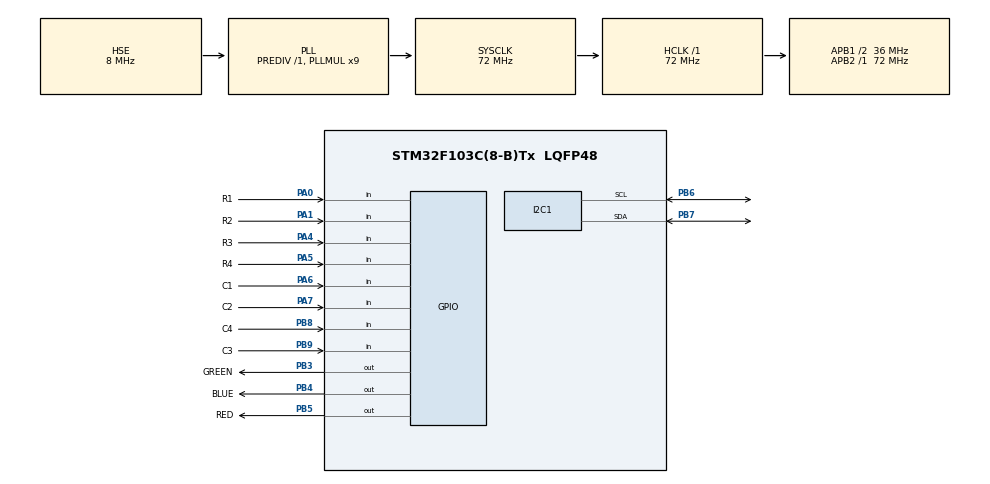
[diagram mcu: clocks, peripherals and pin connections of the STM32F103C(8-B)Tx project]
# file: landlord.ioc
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Mcu.Family=STM32F1
Mcu.Name=STM32F103C(8-B)Tx
Mcu.Package=LQFP48
NVIC.PriorityGroup=NVIC_PRIORITYGROUP_4
PA0-WKUP.GPIO_Label=R1
PA0-WKUP.Signal=GPIO_Input
PA1.GPIO_Label=R2
PA1.Signal=GPIO_Input
PA13.Mode=Serial_Wire
PA13.Signal=SYS_JTMS-SWDIO
PA14.Mode=Serial_Wire
PA14.Signal=SYS_JTCK-SWCLK
PA4.GPIO_Label=R3
PA4.Signal=GPIO_Input
PA5.GPIO_Label=R4
PA5.Signal=GPIO_Input
PA6.GPIO_Label=C1
PA6.Signal=GPIO_Input
PA7.GPIO_Label=C2
PA7.Signal=GPIO_Input
PB3.GPIO_Label=GREEN
PB3.Signal=GPIO_Output
PB4.GPIO_Label=BLUE
PB4.Signal=GPIO_Output
PB5.GPIO_Label=RED
PB5.Signal=GPIO_Output
PB6.Mode=I2C
PB6.Signal=I2C1_SCL
PB7.Mode=I2C
PB7.Signal=I2C1_SDA
PB8.GPIO_Label=C4
PB8.Signal=GPIO_Input
PB9.GPIO_Label=C3
PB9.Signal=GPIO_Input
PC14-OSC32_IN.Mode=LSE-External-Oscillator
PC14-OSC32_IN.Signal=RCC_OSC32_IN
PC15-OSC32_OUT.Mode=LSE-External-Oscillator
PC15-OSC32_OUT.Signal=RCC_OSC32_OUT
PD0-OSC_IN.Mode=HSE-External-Oscillator
PD0-OSC_IN.Signal=RCC_OSC_IN
PD1-OSC_OUT.Mode=HSE-External-Oscillator
PD1-OSC_OUT.Signal=RCC_OSC_OUT
ProjectManager.HeapSize=0x200
ProjectManager.StackSize=0x400
ProjectManager.TargetToolchain=STM32CubeIDE
RCC.AHBFreq_Value=72000000
RCC.APB1CLKDivider=RCC_HCLK_DIV2
RCC.APB1Freq_Value=36000000
RCC.APB1TimFreq_Value=72000000
RCC.APB2Freq_Value=72000000
RCC.APB2TimFreq_Value=72000000
RCC.HCLKFreq_Value=72000000
RCC.PLLMUL=RCC_PLL_MUL9
RCC.PLLSourceVirtual=RCC_PLLSOURCE_HSE
RCC.SYSCLKFreq_VALUE=72000000
RCC.SYSCLKSource=RCC_SYSCLKSOURCE_PLLCLK
RCC.USBFreq_Value=72000000
VP_RTC_VS_RTC_Activate.Mode=RTC_Enabled
board=custom

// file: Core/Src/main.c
/* USER CODE BEGIN Header */
/**
  ******************************************************************************
  * @file           : main.c
  * @brief          : Main program body
  ******************************************************************************
  * @attention
  *
  * Copyright (c) 2023 STMicroelectronics.
  * All rights reserved.
  *
  * This software is licensed under terms that can be found in the LICENSE file
  * in the root directory of this software component.
  * If no LICENSE file comes with this software, it is provided AS-IS.
  *
  ******************************************************************************
  */
/* USER CODE END Header */
#include "main.h"
#include "i2c.h"
#include "rtc.h"
#include "gpio.h"

/* USER CODE BEGIN Includes */
#include "i2c_lcd.h"
#include "user_systick.h"

/* USER CODE END Includes */

/* USER CODE BEGIN PTD */
uint8_t backlight = 1;

//button operation variables
uint8_t button_press_flag;
uint8_t button_handler_flag;
uint8_t up_flag = 0;
uint8_t down_flag = 0;
uint8_t ok_flag = 0;
uint8_t back_flag = 0;

uint8_t admin_screen = 0;
uint8_t menu_screen = 1;
uint8_t mpesa_mode = 0;
uint8_t mpesa_case = 0;
uint8_t payment_flag = 0;
uint8_t menu = 0;
uint8_t admin = 0;
uint8_t a = 0;
uint8_t sub_mode_flag = 0;
uint8_t check_balance_flag = 0;
uint8_t sub = 0;
uint8_t adm = 0;
uint8_t mpesa_flag = 0;
uint8_t mpesa_menu_flag = 0;
uint8_t till_flag = 0;
uint8_t till_menu = 0;
uint8_t paybill = 0;
uint8_t pin = 0;
uint8_t amount = 0;
uint8_t adm_menu = 0;

/* USER CODE END PTD */

void SystemClock_Config(void);

int main(void)
{

  /* MCU Configuration--------------------------------------------------------*/

  /* Reset of all peripherals, Initializes the Flash interface and the Systick. */
  HAL_Init();

  /* Configure the system clock */
  SystemClock_Config();

  /* Initialize all configured peripherals */
  MX_GPIO_Init();
  MX_I2C1_Init();
  MX_RTC_Init();
  /* USER CODE BEGIN 2 */
  //lcd init
  lcd16x2_i2c_init(&hi2c1); //Initialize LCD
  lcd16x2_i2c_1stLine();
  lcd16x2_i2c_printf("WELCOME");
  lcd16x2_i2c_2ndLine();
  lcd16x2_i2c_printf("VIEW MENU");
  delay(2000);

  /* USER CODE END 2 */

  /* Infinite loop */
  while (1)
  {

    /* USER CODE BEGIN 3 */
	  button_hundler();
	  homeScreen();
	  sleep_mode() ;
	  resetButtons();
  }
  /* USER CODE END 3 */
}

void SystemClock_Config(void)
{
  RCC_OscInitTypeDef RCC_OscInitStruct = {0};
  RCC_ClkInitTypeDef RCC_ClkInitStruct = {0};
  RCC_PeriphCLKInitTypeDef PeriphClkInit = {0};

  /** Initializes the RCC Oscillators according to the specified parameters
  * in the RCC_OscInitTypeDef structure.
  */
  RCC_OscInitStruct.OscillatorType = RCC_OSCILLATORTYPE_LSI|RCC_OSCILLATORTYPE_HSE;
  RCC_OscInitStruct.HSEState = RCC_HSE_ON;
  RCC_OscInitStruct.HSEPredivValue = RCC_HSE_PREDIV_DIV1;
  RCC_OscInitStruct.HSIState = RCC_HSI_ON;
  RCC_OscInitStruct.LSIState = RCC_LSI_ON;
  RCC_OscInitStruct.PLL.PLLState = RCC_PLL_ON;
  RCC_OscInitStruct.PLL.PLLSource = RCC_PLLSOURCE_HSE;
  RCC_OscInitStruct.PLL.PLLMUL = RCC_PLL_MUL9;
  if (HAL_RCC_OscConfig(&RCC_OscInitStruct) != HAL_OK)
  {
    Error_Handler();
  }

  /** Initializes the CPU, AHB and APB buses clocks
  */
  RCC_ClkInitStruct.ClockType = RCC_CLOCKTYPE_HCLK|RCC_CLOCKTYPE_SYSCLK
                              |RCC_CLOCKTYPE_PCLK1|RCC_CLOCKTYPE_PCLK2;
  RCC_ClkInitStruct.SYSCLKSource = RCC_SYSCLKSOURCE_PLLCLK;
  RCC_ClkInitStruct.AHBCLKDivider = RCC_SYSCLK_DIV1;
  RCC_ClkInitStruct.APB1CLKDivider = RCC_HCLK_DIV2;
  RCC_ClkInitStruct.APB2CLKDivider = RCC_HCLK_DIV1;

  if (HAL_RCC_ClockConfig(&RCC_ClkInitStruct, FLASH_LATENCY_2) != HAL_OK)
  {
    Error_Handler();
  }
  PeriphClkInit.PeriphClockSelection = RCC_PERIPHCLK_RTC;
  PeriphClkInit.RTCClockSelection = RCC_RTCCLKSOURCE_LSI;
  if (HAL_RCCEx_PeriphCLKConfig(&PeriphClkInit) != HAL_OK)
  {
    Error_Handler();
  }
}

/* USER CODE BEGIN 4 */
unsigned char key_press(void){
	unsigned char clm_var;
	unsigned char key_arr[] = {7, 8, 9, 15, 4, 5, 6, 14, 1, 2, 3, 13, 10, 0, 11, 12};
	HAL_GPIO_WritePin(C1_GPIO_PORT, C1_Pin | C2_GPIO_PORT, C2_Pin | C3_GPIO_PORT, C3_Pin | C4_GPIO_PORT, C4_Pin, GPIO_PIN_RESET);

	if (HAL_GPIO_ReadPin(R1_GPIO_Port, R1_Pin)==0){
		clm_var = check_clm(R1_Pin);
		return key_arr[clm_var-1];
	}
	else if (HAL_GPIO_ReadPin(R2_GPIO_Port, R2_Pin)==0){
		clm_var = check_clm(R2_Pin);
		return key_arr[clm_var+3];
	}
	else if (HAL_GPIO_ReadPin(R3_GPIO_Port, R3_Pin)==0){
		clm_var = check_clm(R3_Pin);
		return key_arr[clm_var+7];
	}
	else if (HAL_GPIO_ReadPin(R4_GPIO_Port, R4_Pin)==0){
		clm_var = check_clm(R4_Pin);
		return key_arr[clm_var+11];
	}
	else
		return 16;
}

unsigned char check_clm(unsigned char pin_var){
	unsigned char clm;
	HAL_GPIO_WritePin(C1_GPIO_Port, C1_Pin | C2_GPIO_Port, C2_Pin | C3_GPIO_Port, C3_Pin | C4_GPIO_Port, C4_Pin, GPIO_PIN_SET); //Set all colunms to logic 1

	HAL_GPIO_WritePin(C1_GPIO_Port, C1_Pin, GPIO_PIN_RESET);  //Set first column to GND
	if(HAL_GPIO_ReadPin(R1_GPIO_Port, R1_Pin | R2_GPIO_Port, R2_Pin | R3_GPIO_Port, R3_Pin | R4_GPIO_Port, R4_Pin) == 0){
		clm = 1;
	}

	HAL_GPIO_WritePin(C1_GPIO_Port, C1_Pin, GPIO_PIN_SET);
	HAL_GPIO_WritePin(C2_GPIO_Port, C2_Pin, GPIO_PIN_RESET);  //Set second column to GND
	if(HAL_GPIO_ReadPin(R1_GPIO_Port, R1_Pin | R2_GPIO_Port, R2_Pin | R3_GPIO_Port, R3_Pin | R4_GPIO_Port, R4_Pin) == 0){
		clm = 2;
	}

	HAL_GPIO_WritePin(C2_GPIO_Port, C2_Pin, GPIO_PIN_SET);
	HAL_GPIO_WritePin(C3_GPIO_Port, C3_Pin, GPIO_PIN_RESET);  //Set third column to GND
	if(HAL_GPIO_ReadPin(R1_GPIO_Port, R1_Pin | R2_GPIO_Port, R2_Pin | R3_GPIO_Port, R3_Pin | R4_GPIO_Port, R4_Pin) == 0){
		clm = 3;
	}
	HAL_GPIO_WritePin(C3_GPIO_Port, C3_Pin, GPIO_PIN_SET);
	HAL_GPIO_WritePin(C4_GPIO_Port, C4_Pin, GPIO_PIN_RESET);  //Set second column to GND
	if(HAL_GPIO_ReadPin(R1_GPIO_Port, R1_Pin | R2_GPIO_Port, R2_Pin | R3_GPIO_Port, R3_Pin | R4_GPIO_Port, R4_Pin) == 0){
		clm = 4;
	}

	HAL_GPIO_WritePin(C1_GPIO_Port, C1_Pin | C2_GPIO_Port, C2_Pin | C3_GPIO_Port, C3_Pin | C4_GPIO_Port, C4_Pin, GPIO_PIN_RESET);  // Set all columns to logic0 ie connected
	return clm;
}

void button_hundler(){

	  if (HAL_GPIO_ReadPin(UP_GPIO_Port, UP_Pin)==0){
		  //raise up menu movement flag
		  up_flag = 1;
		  backlight = 1;
		  button_handler_flag = 1;
		  button_handler_ticks=0;

	  }

	  if (HAL_GPIO_ReadPin(DOWN_GPIO_Port, DOWN_Pin)==0){
		  //raise down menu movement flag
		  down_flag = 1;
		  backlight = 1;
		  button_handler_flag = 1;
		  button_handler_ticks=0;
	  }

	  if (HAL_GPIO_ReadPin(ENTER_GPIO_Port, ENTER_Pin)==0){
		  //raise okey flag
		  ok_flag = 1;
		  backlight = 1;
		  button_handler_flag = 1;
		  button_handler_ticks=0;
	  }

	  if (HAL_GPIO_ReadPin(BACK_GPIO_Port, BACK_Pin)==0){
		  //raise back menu movement flag
		  back_flag = 1;
		  backlight = 1;
		  button_handler_flag = 1;
		  button_handler_ticks=0;
	  }
	  delay(50);
}

void homeScreen() {
	//	main menu screen select
	while (menu_screen) {
		button_hundler();

		lcd16x2_i2c_clear();
		lcd16x2_i2c_1stLine();
		lcd16x2_i2c_printf("MENU");
		lcd16x2_i2c_2ndLine();
		lcd16x2_i2c_printf("ADMIN");
		lcd16x2_i2c_setCursor(0, 6);
		lcd16x2_i2c_printf(">");
		delay(100);

		if (ok_flag) {
			resetButtons();
			menu = 1;
		}

		while (menu) {
			button_hundler();
			if (up_flag || down_flag){
				resetButtons();
				a++;
			 }
			if(a>1){
				a=0;
			}
			if (!a){
//				PROMPTING FOR PAYMENT SUBSCRIPTION MODE SELECTING
				lcd16x2_i2c_clear();
				lcd16x2_i2c_1stLine();
				lcd16x2_i2c_printf("SUBSCRIPTION");
				lcd16x2_i2c_2ndLine();
				lcd16x2_i2c_printf("MODE");
				delay(100);

				if (ok_flag){
					resetButtons();
					sub_mode_flag =1;
				}
			}

			while (sub_mode_flag) {
				button_hundler();
				sub_mode();

				if (back_flag){
					resetButtons();
					sub_mode_flag =0;
				}
			}

			if (a) {
//				prompt for your tocken balance but ideally it should be desplayed at the home screen
				lcd16x2_i2c_clear();
				lcd16x2_i2c_1stLine();
				lcd16x2_i2c_printf("CHECK TOCKEN");
				lcd16x2_i2c_2ndLine();
				lcd16x2_i2c_printf("BALANCE");
				lcd16x2_i2c_setCursor(1, 7);
				delay(100);

				if (ok_flag){
					resetButtons();
					check_balance_flag =1;
				}
			}

			while (check_balance_flag){
//				the display for tocken balance after prompting
				button_hundler();
				if (backlight){
					lcd16x2_i2c_clear();
					lcd16x2_i2c_1stLine();
					lcd16x2_i2c_printf("TOCKEN");
					lcd16x2_i2c_2ndLine();
					lcd16x2_i2c_printf("BALANCE");
					lcd16x2_i2c_setCursor(1, 7);
					delay(100);
				}

				if (back_flag) {
					resetButtons();
					check_balance_flag =0;
				}
			}

			if (back_flag){
				resetButtons();
				menu =0;
			}

		}

		if (up_flag || down_flag) {
			resetButtons();
			admin_screen = 1;
			menu_screen = 0;
		}

	}

//	main admin screen select
	while (admin_screen ) {
		button_hundler();

		lcd16x2_i2c_clear();
		lcd16x2_i2c_1stLine();
		lcd16x2_i2c_printf("ADMIN");
		lcd16x2_i2c_2ndLine();
		lcd16x2_i2c_printf("MENU");
		lcd16x2_i2c_setCursor(0, 6);
		lcd16x2_i2c_printf(">");
		delay(100);

		if (ok_flag) {
			resetButtons();
			admin = 1;
		}

		while (admin) {
//			to continue in admin mode you must enter authorisation pin and verification maybe done to the owners registered simcard
			button_hundler();

			lcd16x2_i2c_clear();
			lcd16x2_i2c_1stLine();
			lcd16x2_i2c_printf(" ENTER");
			lcd16x2_i2c_2ndLine();
			lcd16x2_i2c_printf("  PIN");
			delay(100);

			//		TO CONTINUE IT SHOULD DO SO WITH SIMCARD INSERTED SO AS TO NOTIFY THE OWNER VIA SMS ELSE DISPLAY ERROR
			if (ok_flag){
				adm_menu = 1;
				resetButtons();
				admin =0;
			}

			if (back_flag){
				resetButtons();
				admin =0;
			}
			while (adm_menu){
				button_hundler();
				adm_mode();
			}
		}

		if (up_flag || down_flag){
			resetButtons();
			admin_screen = 0;
			menu_screen = 1;
		}
	}
}

//this function has a case statement to iterate through various functions an admin can do
void adm_mode() {
	if (up_flag){
		if (adm >4){
			adm = 0;
		}
		adm++;
		resetButtons();
	}
	if (down_flag){
		if (adm == 0) {
			adm = 5;
			delay(10);
		}
		adm--;
		resetButtons();
	}

//	if (ok_flag){
//		resetButtons();
//		mpesa_flag = 1;
//	}
//
//	mpesa();

	switch (adm){
	case 0:
		lcd16x2_i2c_clear();
		lcd16x2_i2c_1stLine();
		lcd16x2_i2c_printf("CHANGE");
		lcd16x2_i2c_2ndLine();
		lcd16x2_i2c_printf("PIN");
		lcd16x2_i2c_setCursor(1, 12);
		delay(100);
		break;

	case 1:
		lcd16x2_i2c_clear();
		lcd16x2_i2c_1stLine();
		lcd16x2_i2c_printf("CHANGE");
		lcd16x2_i2c_2ndLine();
		lcd16x2_i2c_printf("RATES");
		lcd16x2_i2c_setCursor(1, 12);
		delay(100);
		break;

	case 2:
		lcd16x2_i2c_clear();
		lcd16x2_i2c_1stLine();
		lcd16x2_i2c_printf("DEACTIVATE");
		lcd16x2_i2c_2ndLine();
		lcd16x2_i2c_printf("LOCK");
		lcd16x2_i2c_setCursor(1, 12);
		delay(100);
		break;

	case 3:
		lcd16x2_i2c_clear();
		lcd16x2_i2c_1stLine();
		lcd16x2_i2c_printf("ADD EXTRA DAYS ");
		lcd16x2_i2c_2ndLine();
		lcd16x2_i2c_printf("WITH LOCK DEACTIVATED");
		lcd16x2_i2c_setCursor(1, 12);
		delay(100);
		break;

	case 4:
		lcd16x2_i2c_clear();
		lcd16x2_i2c_1stLine();
		lcd16x2_i2c_printf("ACTIVATE ");
		lcd16x2_i2c_2ndLine();
		lcd16x2_i2c_printf("LOCK");
		lcd16x2_i2c_setCursor(1, 12);
		delay(100);
		break;
	}
}

//this function has a switch statement to iterate through various subscription modes available for the client
void sub_mode() {
	if (up_flag){
		if (sub >3){
			sub = 0;
		}
		sub++;
		resetButtons();
	}
	if (down_flag){
		if (sub == 0) {
			sub = 4;
			delay(10);
		}
		sub--;
		resetButtons();
	}

	if (ok_flag){
		resetButtons();
		mpesa_flag = 1;
	}

	mpesa();

	switch (sub){
	case 0:
		lcd16x2_i2c_clear();
		lcd16x2_i2c_1stLine();
		lcd16x2_i2c_printf("WEEKLY");
		lcd16x2_i2c_2ndLine();
		lcd16x2_i2c_printf("SUBSCRIPTION");
		lcd16x2_i2c_setCursor(1, 12);
		delay(100);
		break;

	case 1:
		lcd16x2_i2c_clear();
		lcd16x2_i2c_1stLine();
		lcd16x2_i2c_printf("HALF MONTHLY");
		lcd16x2_i2c_2ndLine();
		lcd16x2_i2c_printf("SUBSCRIPTION");
		lcd16x2_i2c_setCursor(1, 12);
		delay(100);
		break;

	case 2:
		lcd16x2_i2c_clear();
		lcd16x2_i2c_1stLine();
		lcd16x2_i2c_printf("MONTHLY");
		lcd16x2_i2c_2ndLine();
		lcd16x2_i2c_printf("SUBSCRIPTION");
		lcd16x2_i2c_setCursor(1, 12);
		delay(100);
		break;

	case 3:
		lcd16x2_i2c_clear();
		lcd16x2_i2c_1stLine();
		lcd16x2_i2c_printf("HALF ANNUALLY");
		lcd16x2_i2c_2ndLine();
		lcd16x2_i2c_printf("SUBSCRIPTION");
		lcd16x2_i2c_setCursor(1, 12);
		delay(100);
		break;
	}
}

void mpesa(){
	while(mpesa_flag){
//		this is where at commands for simcard mpesa payment will be initiated
		button_hundler();

		lcd16x2_i2c_clear();
		lcd16x2_i2c_1stLine();
		lcd16x2_i2c_printf("INSERT");
		lcd16x2_i2c_2ndLine();
		lcd16x2_i2c_printf("SIMCARD");
		lcd16x2_i2c_setCursor(1, 12);
		delay(100);

		if (ok_flag){
			resetButtons();
			mpesa_menu_flag =1 ;
		}

		while (mpesa_menu_flag){
//			this part is a guide to send command to initiate mpesa menu for payments
			button_hundler();
			lcd16x2_i2c_clear();
			lcd16x2_i2c_1stLine();
			lcd16x2_i2c_printf("MPESA");
			lcd16x2_i2c_2ndLine();
			lcd16x2_i2c_printf("MENU");
			lcd16x2_i2c_setCursor(1, 12);
			delay(100);
			if (ok_flag) {
				resetButtons();
				mpesa_mode =1 ;
			}

			while(mpesa_mode){
				button_hundler();
				mpesaPaymentMenu();
				if (back_flag){
					resetButtons();
					mpesa_mode =0;
				}
			}

			if (back_flag){
				resetButtons();
				mpesa_menu_flag =0;
			}
		}

		if (back_flag){
			resetButtons();
			mpesa_flag =0;
		}
	}
}

//this function contains switch statement to showcase menu navigation for mpesa payment
void mpesaPaymentMenu(){
	if (up_flag){
		if (mpesa_case >5){
			mpesa_case = 0;
		}
		mpesa_case ++;
		resetButtons();
	}
	if (down_flag){
		if (mpesa_case == 0) {
			mpesa_case = 6;
			delay(10);
		}
		mpesa_case --;
		resetButtons();
	}

	if (ok_flag && mpesa_case == 4){
		resetButtons();
		payment_flag = 1;
	}

	payment();

	switch (mpesa_case){
	case 0:
		lcd16x2_i2c_clear();
		lcd16x2_i2c_1stLine();
		lcd16x2_i2c_printf("SEND");
		lcd16x2_i2c_2ndLine();
		lcd16x2_i2c_printf("MONEY");
		lcd16x2_i2c_setCursor(1, 12);
		delay(100);
		break;

	case 1:
		lcd16x2_i2c_clear();
		lcd16x2_i2c_1stLine();
		lcd16x2_i2c_printf("WITHDRAW");
		lcd16x2_i2c_2ndLine();
		lcd16x2_i2c_printf("CASH");
		lcd16x2_i2c_setCursor(1, 12);
		delay(100);
		break;

	case 2:
		lcd16x2_i2c_clear();
		lcd16x2_i2c_1stLine();
		lcd16x2_i2c_printf("BUY");
		lcd16x2_i2c_2ndLine();
		lcd16x2_i2c_printf("AIRTIME");
		lcd16x2_i2c_setCursor(1, 12);
		delay(100);
		break;

	case 3:
		lcd16x2_i2c_clear();
		lcd16x2_i2c_1stLine();
		lcd16x2_i2c_printf("LOAN AND");
		lcd16x2_i2c_2ndLine();
		lcd16x2_i2c_printf("SAVINGS");
		lcd16x2_i2c_setCursor(1, 12);
		delay(100);
		break;

	case 4:
		lcd16x2_i2c_clear();
		lcd16x2_i2c_1stLine();
		lcd16x2_i2c_printf("LIPA NA");
		lcd16x2_i2c_2ndLine();
		lcd16x2_i2c_printf("MPESA");
		lcd16x2_i2c_setCursor(1, 12);
		delay(100);
		break;

	case 5:
		lcd16x2_i2c_clear();
		lcd16x2_i2c_1stLine();
		lcd16x2_i2c_printf(" MY ");
		lcd16x2_i2c_2ndLine();
		lcd16x2_i2c_printf("ACCOUNT");
		lcd16x2_i2c_setCursor(1, 12);
		delay(100);
		break;
	}
}

//this function assumes that payments shall be made via paybill number and guides on how the payment process shall continue
void payment(){
	while (payment_flag){
		button_hundler();

		if (up_flag){
			if (till_menu >2){
				till_menu = 0;
			}
			till_menu ++;
			resetButtons();
		}
		if (down_flag){
			if (till_menu == 0) {
				till_menu = 3;
				delay(10);
			}
			till_menu --;
			resetButtons();
		}

		if (ok_flag && till_menu == 0){
			resetButtons();
			till_flag = 1;
		}

		while(till_flag){
			button_hundler();
			lcd16x2_i2c_clear();
			lcd16x2_i2c_1stLine();
			lcd16x2_i2c_printf("Enter Business");
			lcd16x2_i2c_2ndLine();
			lcd16x2_i2c_printf("    Number");
			delay(100);

			if (ok_flag) {
				resetButtons();
				paybill = 1 ;
			}

			while (paybill){
				button_hundler();
				lcd16x2_i2c_clear();
				lcd16x2_i2c_1stLine();
				lcd16x2_i2c_printf("Enter account");
				lcd16x2_i2c_2ndLine();
				lcd16x2_i2c_printf("    Number");
				delay(100);

				if (ok_flag) {
					resetButtons();
					amount = 1 ;
				}

				while (amount){
					button_hundler();
					lcd16x2_i2c_clear();
					lcd16x2_i2c_1stLine();
					lcd16x2_i2c_printf("  Enter");
					lcd16x2_i2c_2ndLine();
					lcd16x2_i2c_printf(" Amount");
					delay(100);

					if (ok_flag) {
						resetButtons();
						pin = 1 ;
					}

					while (pin){
						button_hundler();
						lcd16x2_i2c_clear();
						lcd16x2_i2c_1stLine();
						lcd16x2_i2c_printf("  Enter");
						lcd16x2_i2c_2ndLine();
						lcd16x2_i2c_printf("  PIN");
						delay(100);

						if (ok_flag) {
							resetButtons();
//							amount = 1 ;
						}

						if (back_flag){
							resetButtons();
							pin =0;
						}
					}

					if (back_flag){
						resetButtons();
						amount =0;
					}
				}

				if (back_flag){
					resetButtons();
					paybill =0;
				}
			}

			if (back_flag){
				resetButtons();
				till_flag =0;
			}
		}

		switch (till_menu){
		case 0:
			lcd16x2_i2c_clear();
			lcd16x2_i2c_1stLine();
			lcd16x2_i2c_printf("PAY BILL");
			lcd16x2_i2c_2ndLine();
			lcd16x2_i2c_printf("");
			delay(100);
			break;

		case 1:
			lcd16x2_i2c_clear();
			lcd16x2_i2c_1stLine();
			lcd16x2_i2c_printf("BUY GOODS");
			lcd16x2_i2c_2ndLine();
			lcd16x2_i2c_printf("AND SERVICES");
			delay(100);
			break;

		case 2:
			lcd16x2_i2c_clear();
			lcd16x2_i2c_1stLine();
			lcd16x2_i2c_printf("POCHI LA");
			lcd16x2_i2c_2ndLine();
			lcd16x2_i2c_printf("BIASHARA");
			delay(100);
			break;
		}

		if (back_flag){
			resetButtons();
			payment_flag =0;
		}
	}
}

void resetButtons(){
	up_flag = 0;
	down_flag = 0;
	ok_flag = 0;
	back_flag = 0;
}

//what to display on sleep mode
void sleep_mode() {
	if(!backlight) {
		lcd16x2_i2c_clear();
		lcd16x2_i2c_1stLine();
		lcd16x2_i2c_printf("DISPLAY");
		lcd16x2_i2c_2ndLine();
		lcd16x2_i2c_printf("BALANCE");
		delay(100);
	}
}
/* USER CODE END 4 */

void Error_Handler(void)
{
  __disable_irq();
  while (1)
  {
  }
}
